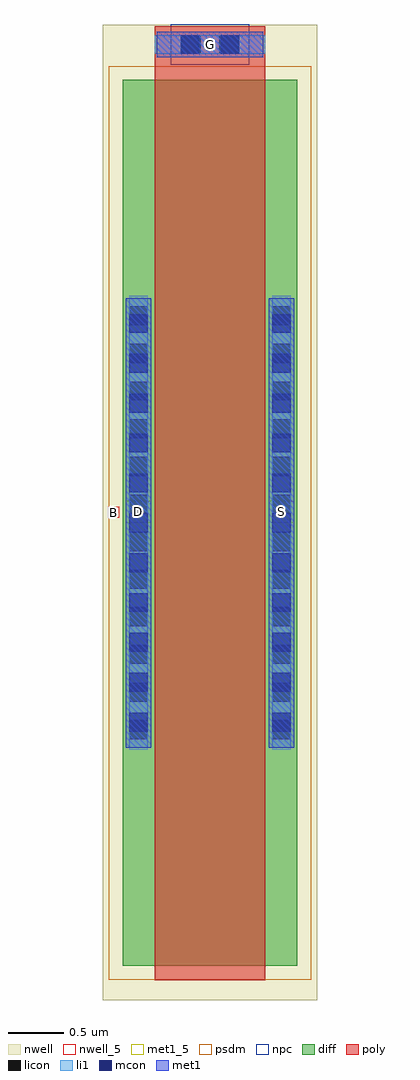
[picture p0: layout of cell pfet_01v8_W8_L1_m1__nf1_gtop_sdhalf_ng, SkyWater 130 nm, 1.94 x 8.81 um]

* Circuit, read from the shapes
.subckt pfet_01v8_W8_L1_m1__nf1_gtop_sdhalf_ng B D G S
XM1 S G D B sky130_fd_pr__pfet_01v8 w=8 l=1
.ends

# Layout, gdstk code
import gdstk
lib = gdstk.Library(unit=1e-6, precision=1e-09)
def R(c, l, rs):  # rectangles x0, y0, x1, y1
    for r in rs: c.add(gdstk.rectangle(r[:2], r[2:], *l))
def A(c, l, x, y, w, h, nx, ny, dx, dy):  # array of equal rectangles
    R(c, l, [(x+i*dx, y+j*dy, x+i*dx+w, y+j*dy+h) for i in range(nx) for j in range(ny)])
nwell_5 = (64, 5)
nwell = (64, 20)
diff = (65, 20)
poly = (66, 20)
licon = (66, 44)
li1 = (67, 20)
mcon = (67, 44)
met1_5 = (68, 5)
met1 = (68, 20)
psdm = (94, 20)
npc = (95, 20)

sky130_fd_pr__pfet_01v8_ = lib.new_cell('sky130_fd_pr__pfet_01v8_XQLPWL')
R(sky130_fd_pr__pfet_01v8_, nwell, [(-0.97,-4.49,0.97,4.32)])
R(sky130_fd_pr__pfet_01v8_, diff, [(-0.79,-4.18,0.79,3.82)])
R(sky130_fd_pr__pfet_01v8_, poly, [(-0.5,-4.31,0.5,4.305)])
A(sky130_fd_pr__pfet_01v8_, licon, -0.73, -2.135, 0.17, 0.17, 1, 12, 0, 0.34)
A(sky130_fd_pr__pfet_01v8_, licon, 0.56, -2.135, 0.17, 0.17, 1, 12, 0, 0.34)
R(sky130_fd_pr__pfet_01v8_, licon, [(-0.255,4.055,-0.085,4.225), (0.085,4.055,0.255,4.225)])
R(sky130_fd_pr__pfet_01v8_, li1, [(-0.73,-2.23,-0.56,1.87), (0.56,-2.23,0.73,1.87), (-0.5,4.055,0.5,4.225)])
A(sky130_fd_pr__pfet_01v8_, mcon, -0.73, -2.065, 0.17, 0.17, 1, 11, 0, 0.36)
A(sky130_fd_pr__pfet_01v8_, mcon, 0.56, -2.065, 0.17, 0.17, 1, 11, 0, 0.36)
R(sky130_fd_pr__pfet_01v8_, mcon, [(-0.265,4.055,-0.095,4.225), (0.095,4.055,0.265,4.225)])
R(sky130_fd_pr__pfet_01v8_, met1, [(-0.76,-2.21,-0.53,1.85), (0.53,-2.21,0.76,1.85), (-0.48,4.025,0.48,4.255)])
R(sky130_fd_pr__pfet_01v8_, psdm, [(-0.915,-4.305,0.915,3.945)])
R(sky130_fd_pr__pfet_01v8_, npc, [(-0.355,3.955,0.355,4.325)])
sky130_fd_pr__pfet_01v8_.add(gdstk.Label('D', (-0.645,-0.18), layer=67, texttype=5))
sky130_fd_pr__pfet_01v8_.add(gdstk.Label('S', (0.645,-0.18), layer=67, texttype=5))
sky130_fd_pr__pfet_01v8_.add(gdstk.Label('G', (0,4.14), layer=67, texttype=5))

pfet_01v8_w8_l1_m1__nf1_ = lib.new_cell('pfet_01v8_W8_L1_m1__nf1_gtop_sdhalf_ng')
R(pfet_01v8_w8_l1_m1__nf1_, nwell_5, [(0.05,4.355,0.15,4.455)])
R(pfet_01v8_w8_l1_m1__nf1_, nwell, [(0.05,4.355,0.15,4.455)])
R(pfet_01v8_w8_l1_m1__nf1_, met1_5, [(0.21,4.31,0.44,4.51), (1.5,4.31,1.73,4.51), (0.49,8.515,1.45,8.745)])
R(pfet_01v8_w8_l1_m1__nf1_, met1, [(0.21,4.31,0.44,4.51), (1.5,4.31,1.73,4.51), (0.49,8.515,1.45,8.745)])
pfet_01v8_w8_l1_m1__nf1_.add(gdstk.Reference(sky130_fd_pr__pfet_01v8_, (0.97,4.49)))
pfet_01v8_w8_l1_m1__nf1_.add(gdstk.Label('D', (0.325,4.41), layer=68, texttype=5))
pfet_01v8_w8_l1_m1__nf1_.add(gdstk.Label('S', (1.615,4.41), layer=68, texttype=5))
pfet_01v8_w8_l1_m1__nf1_.add(gdstk.Label('G', (0.97,8.63), layer=68, texttype=5))
pfet_01v8_w8_l1_m1__nf1_.add(gdstk.Label('B', (0.1,4.405), layer=64, texttype=5))

lib.write_gds('pfet_01v8_W8_L1_m1__nf1_gtop_sdhalf_ng.gds')
